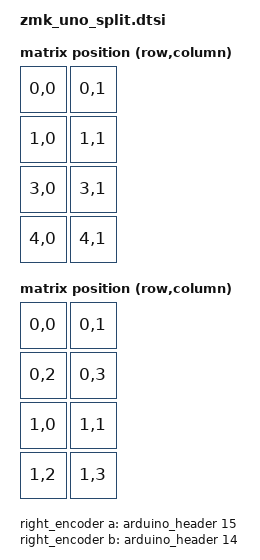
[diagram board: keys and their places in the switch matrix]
/*
 * Copyright (c) 2022 The ZMK Contributors
 *
 * SPDX-License-Identifier: MIT
 */

#include "zmk_uno.dtsi"
#include "zmk_uno_split-layouts.dtsi"

left_encoder: &encoder {
    status = "disabled";
};

&arduino_serial {
    status = "okay";
};

/ {
    chosen {
        zmk,physical-layout = &split_matrix_physical_layout;
    };

    wired_split {
        compatible = "zmk,wired-split";
        device = <&arduino_serial>;
    };

    split_matrix_transform: split_matrix_transform {
        compatible = "zmk,matrix-transform";
        rows = <4>;
        columns = <2>;

        map = <
        RC(0,0) RC(0,1)
        RC(1,0) RC(1,1)

        RC(3,0) RC(3,1)
        RC(4,0) RC(4,1)
        >;
    };

    split_direct_matrix_transform: split_direct_matrix_transform {
        compatible = "zmk,matrix-transform";
        rows = <2>;
        columns = <4>;

        map = <
        RC(0,0) RC(0,1)
        RC(0,2) RC(0,3)

        RC(1,0) RC(1,1)
        RC(1,2) RC(1,3)
        >;
    };

    right_encoder: right_encoder {
        steps = <80>;
        status = "disabled";
        compatible = "alps,ec11";
        a-gpios = <&arduino_header 15 GPIO_PULL_UP>;
        b-gpios = <&arduino_header 14 GPIO_PULL_UP>;
    };

    sensors: sensors {
        compatible = "zmk,keymap-sensors";
        sensors = <&encoder &right_encoder>;
        triggers-per-rotation = <20>;
    };
};

&split_matrix_physical_layout {
    kscan = <&kscan_matrix>;
    transform = <&split_matrix_transform>;
};

&split_direct_physical_layout {
    kscan = <&kscan_direct>;
    transform = <&split_direct_matrix_transform>;
};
